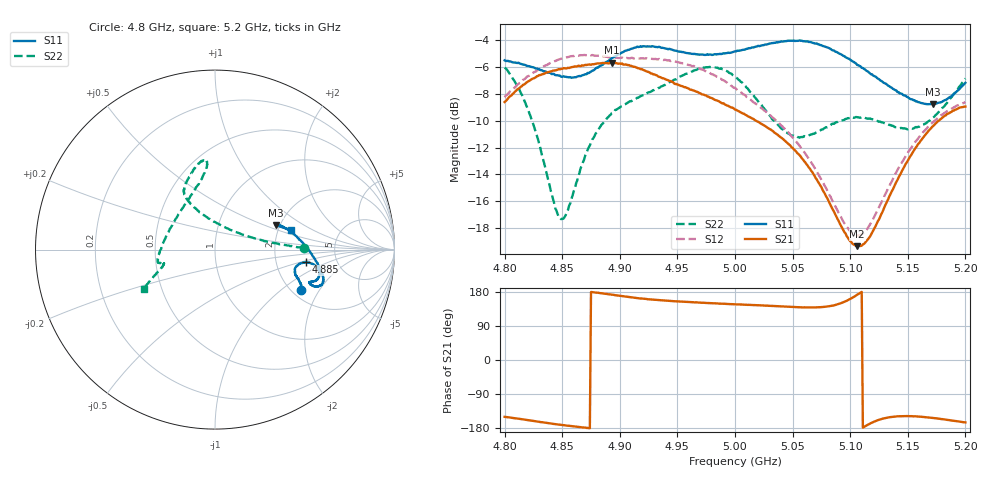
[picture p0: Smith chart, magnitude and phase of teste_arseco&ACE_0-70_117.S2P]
! Network Analyzer HP8722D
! Hewlett-Packard
! Data name: Linha & Wilkinson
! Saver's name: Rodrigo Anjos
! Comments: Teste da utilização de aquisição
! continua pelo VNA HP8722D
! Time and date: 8/5/2025 13:44
!  Frequency  S11  S21  S12  S22
# HZ  S  MA R 50
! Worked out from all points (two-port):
!   401 points, 4.8 GHz to 5.2 GHz, reference 50 ohm
!   highest |S21| = -5.68 dB at 4.893 GHz (marker M1); lowest = -19.3 dB at 5.106 GHz (marker M2)
!   |S21| within 3 dB of the highest: start of sweep to 4.989 GHz
!   lowest |S11| = -8.8 dB at 5.172 GHz (marker M3), VSWR 2.15, Z = 94.7 + j30.1 ohm
!   |S11| at or under -10 dB: nowhere
!   |S22| runs from -17.3 to -6.0 dB; largest |S21 - S12| = 1.1
!   S11 on the Smith chart (normalised r, x): 4.8 GHz: 2.23, -1.41; 4.885 GHz: 2.96, -0.57; 5.2 GHz: 2.35, +0.64
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4.8e9  0.531 -25.3  0.3714 -150.0  0.3868 9.4  0.4987 1.0
4.811e9  0.519 -22.7  0.4137 -154.6  0.431 7.8  0.4259 2.8
4.822e9  0.5037 -20.7  0.4468 -159.4  0.4673 6.0  0.333 6.2
4.843e9  0.4721 -17.6  0.4864 -169.0  0.5264 2.8  0.1559 38.1
4.848e9  0.4656 -16.2  0.4918 -170.9  0.5367 2.0  0.1377 57.4
4.854e9  0.4606 -14.6  0.4958 -173.2  0.5448 0.9  0.1447 81.8
4.867e9  0.4662 -11.1  0.5086 -177.8  0.5549 -0.7  0.2147 110.7
4.885e9  0.5107 -8.0  0.5193 175.9  0.55 -2.1  0.3082 118.6
4.893e9  0.5407 -8.2  0.5199 172.4  0.5468 -2.1  0.3379 119.5
4.914e9  0.5924 -11.8  0.5004 163.9  0.5407 -1.6  0.3816 116.7
4.934e9  0.5968 -16.1  0.4609 157.9  0.5373 -2.6  0.4189 111.3
4.975e9  0.5567 -19.3  0.3928 150.5  0.4835 -6.1  0.5007 98.0
5e9  0.5735 -20.1  0.3483 146.9  0.4199 -6.0  0.4621 95.8
5.043e9  0.6246 -18.1  0.2671 141.0  0.2957 2.0  0.2904 130.1
5.067e9  0.6185 -13.8  0.2037 138.7  0.2185 9.0  0.2816 164.9
5.095e9  0.5504 -4.2  0.1215 153.5  0.1311 33.8  0.319 -172.2
5.106e9  0.5108 0.9  0.1078 172.1  0.1183 54.6  0.326 -168.6
5.117e9  0.4757 6.6  0.1168 -168.3  0.1295 75.9  0.3227 -166.8
5.134e9  0.4252 14.8  0.1654 -151.1  0.1805 94.5  0.3049 -165.7
5.154e9  0.3798 21.2  0.2401 -148.5  0.2548 100.6  0.2953 -164.2
5.172e9  0.3644 22.2  0.3025 -153.1  0.313 101.4  0.3251 -160.0
5.2e9  0.438 14.6  0.3572 -164.7  0.3712 101.8  0.4546 -151.1
